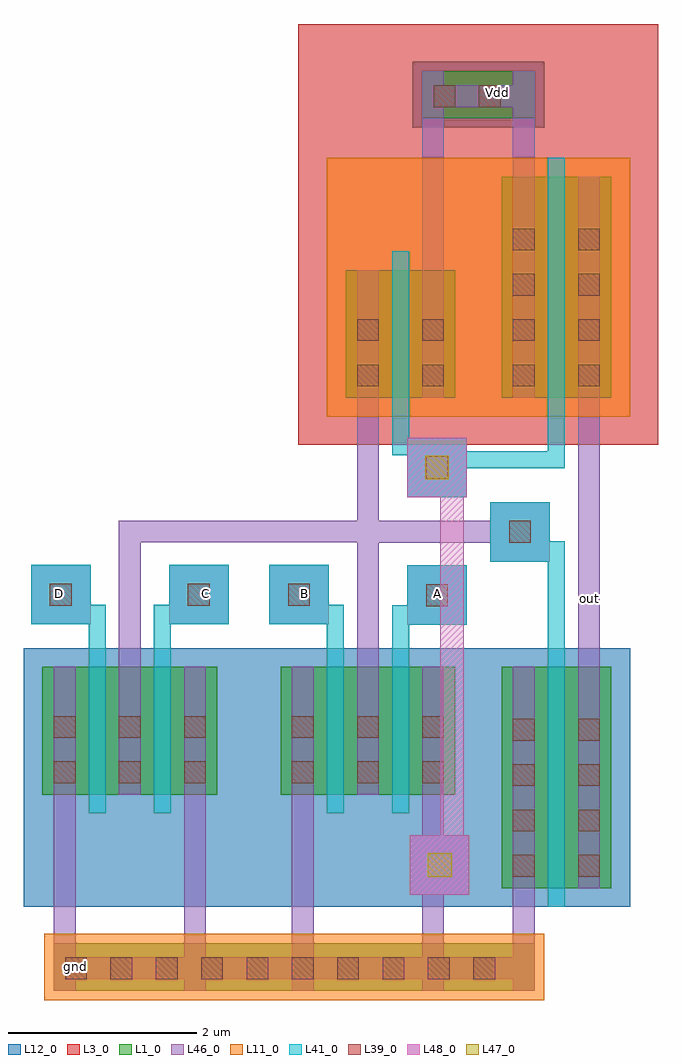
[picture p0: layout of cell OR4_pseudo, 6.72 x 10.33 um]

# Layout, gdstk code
import gdstk
lib = gdstk.Library(unit=1e-6, precision=1e-09)
def R(c, l, rs):  # rectangles x0, y0, x1, y1
    for r in rs: c.add(gdstk.rectangle(r[:2], r[2:], *l))
def A(c, l, x, y, w, h, nx, ny, dx, dy):  # array of equal rectangles
    R(c, l, [(x+i*dx, y+j*dy, x+i*dx+w, y+j*dy+h) for i in range(nx) for j in range(ny)])
L1_0 = (1, 0)
L3_0 = (3, 0)
L11_0 = (11, 0)
L12_0 = (12, 0)
L39_0 = (39, 0)
L41_0 = (41, 0)
L46_0 = (46, 0)
L47_0 = (47, 0)
L48_0 = (48, 0)

or4_pseudo = lib.new_cell('OR4_pseudo')
R(or4_pseudo, L1_0, [(-2.995,-0.72,2.095,-0.22), (1.745,0.365,2.905,2.705), (-3.115,1.355,-1.265,2.705), (-0.595,1.355,1.255,2.705), (0.095,5.555,1.255,6.905), (1.745,5.555,2.905,7.895), (0.905,8.51,2.095,9.01)])
R(or4_pseudo, L3_0, [(-0.405,5.055,3.405,9.51)])
R(or4_pseudo, L11_0, [(-3.095,-0.82,2.195,-0.12), (-0.105,5.355,3.105,8.095)])
R(or4_pseudo, L12_0, [(-3.315,0.165,3.105,2.905), (0.805,8.41,2.195,9.11)])
A(or4_pseudo, L39_0, -2.875, -0.6, 0.23, 0.23, 10, 1, 0.48, 0)
A(or4_pseudo, L39_0, 1.865, 0.485, 0.23, 0.23, 1, 4, 0, 0.48)
A(or4_pseudo, L39_0, 2.555, 0.485, 0.23, 0.23, 1, 4, 0, 0.48)
A(or4_pseudo, L39_0, -2.995, 1.475, 0.23, 0.23, 3, 2, 0.69, 0.48)
A(or4_pseudo, L39_0, -0.475, 1.475, 0.23, 0.23, 3, 2, 0.69, 0.48)
A(or4_pseudo, L39_0, 1.865, 5.675, 0.23, 0.23, 1, 4, 0, 0.48)
A(or4_pseudo, L39_0, 2.555, 5.675, 0.23, 0.23, 1, 4, 0, 0.48)
R(or4_pseudo, L39_0, [(0.945,3.35,1.175,3.58), (-3.035,3.355,-2.805,3.585), (-1.575,3.355,-1.345,3.585), (-0.515,3.355,-0.285,3.585), (1.825,4.02,2.055,4.25), (0.945,4.7,1.175,4.93), (0.215,5.675,0.445,5.905), (0.905,5.675,1.135,5.905), (0.215,6.155,0.445,6.385), (0.905,6.155,1.135,6.385), (1.025,8.63,1.255,8.86), (1.505,8.63,1.735,8.86)])
R(or4_pseudo, L41_0, [(2.235,0.165,2.415,4.035), (-2.625,1.155,-2.445,3.365), (-1.935,1.155,-1.755,3.365), (-0.105,1.155,0.075,3.365), (0.585,1.155,0.765,3.36), (0.745,3.15,1.375,3.78), (-3.235,3.155,-2.605,3.785), (-1.775,3.155,-1.145,3.785), (-0.715,3.155,-0.085,3.785), (1.625,3.82,2.255,4.45), (0.745,4.5,1.375,5.13), (1.108,4.81,2.415,4.99), (2.235,4.81,2.415,8.095), (0.585,4.945,0.765,7.105)])
R(or4_pseudo, L46_0, [(-2.995,-0.72,-2.765,2.705), (-1.615,-0.72,-1.385,2.705), (-0.475,-0.72,-0.245,2.705), (0.905,-0.72,1.135,2.705), (1.865,-0.72,2.095,2.705), (-2.995,-0.6,2.095,-0.37), (0.775,0.295,1.405,0.925), (2.555,0.365,2.785,7.895), (-2.305,1.355,-2.075,4.11), (0.215,1.355,0.445,6.905), (0.745,3.15,1.375,3.78), (-3.235,3.155,-2.605,3.785), (-1.775,3.155,-1.145,3.785), (-0.715,3.155,-0.085,3.785), (1.625,3.82,2.255,4.45), (0.33,4.02,2.115,4.25), (-2.305,4.025,0.305,4.255), (0.745,4.5,1.375,5.13), (0.905,5.555,1.135,9.01), (1.865,5.555,2.095,9.01), (0.905,8.63,2.095,8.86)])
R(or4_pseudo, L47_0, [(0.965,0.485,1.215,0.735), (0.935,4.69,1.185,4.94)])
R(or4_pseudo, L48_0, [(0.775,0.295,1.405,0.925), (1.095,0.485,1.345,5.13), (0.745,4.5,1.375,5.13)])
or4_pseudo.add(gdstk.Label('A', (1.07,3.48), layer=101, texttype=0))
or4_pseudo.add(gdstk.Label('B', (-0.34,3.48), layer=101, texttype=0))
or4_pseudo.add(gdstk.Label('C', (-1.385,3.48), layer=101, texttype=0))
or4_pseudo.add(gdstk.Label('D', (-2.93,3.48), layer=101, texttype=0))
or4_pseudo.add(gdstk.Label('gnd', (-2.765,-0.465), layer=101, texttype=0))
or4_pseudo.add(gdstk.Label('Vdd', (1.705,8.78), layer=101, texttype=0))
or4_pseudo.add(gdstk.Label('out', (2.68,3.425), layer=101, texttype=0))

lib.write_gds('OR4_pseudo.gds')
